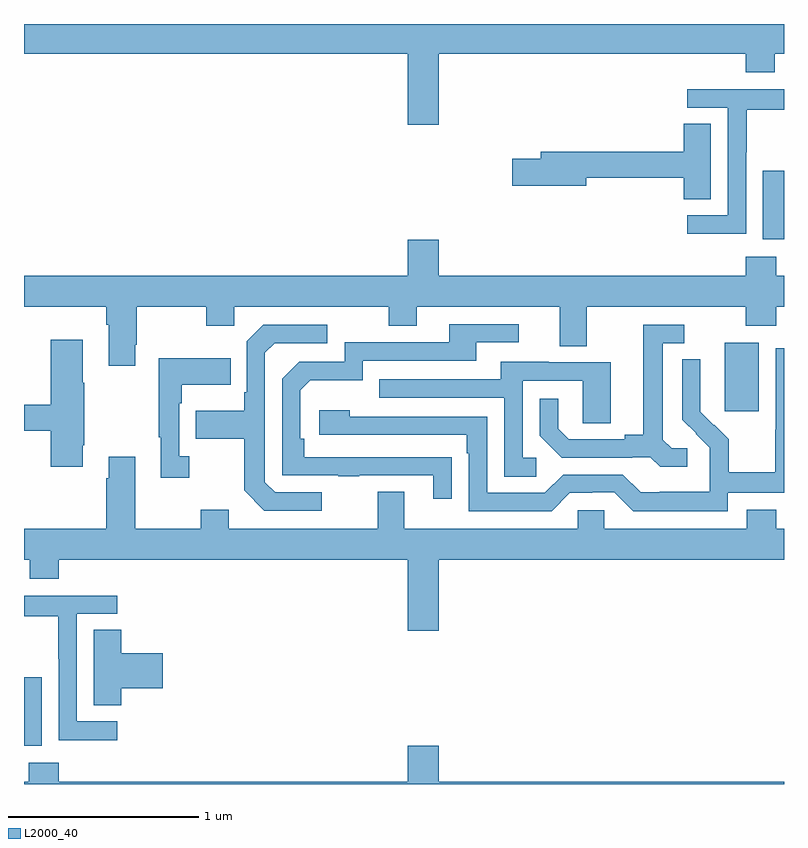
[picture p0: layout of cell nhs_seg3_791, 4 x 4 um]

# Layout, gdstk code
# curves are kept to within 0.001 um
import gdstk
lib = gdstk.Library(unit=1e-6, precision=1e-09)
def R(c, l, rs):  # rectangles x0, y0, x1, y1
    for r in rs: c.add(gdstk.rectangle(r[:2], r[2:], *l))
def P(c, l, *ps):  # polygons
    for p in ps: c.add(gdstk.Polygon(p, *l))
L2000_40 = (2000, 40)

nhs_seg3_791 = lib.new_cell('nhs_seg3_791')
R(nhs_seg3_791, L2000_40, [(151,702.602,151.093,702.963), (154.688,704.361,154.867,704.722), (154.889,705.266,155,705.627)])
P(nhs_seg3_791, L2000_40, [(153.184,706.244),(154.799,706.244),(154.799,706.145),(154.951,706.145),(154.951,706.244),(155,706.244),(155,706.4),(151,706.4),(151,706.244),(153.02,706.244),(153.02,705.87),(153.184,705.87)],
  [(154.8,705.724),(154.803,705.724),(154.803,705.948),(155,705.948),(155,706.056),(154.491,706.056),(154.491,705.96),(154.704,705.96),(154.704,705.393),(154.491,705.393),(154.491,705.295),(154.8,705.295)],
  [(154.615,705.875),(154.472,705.875),(154.472,705.728),(153.719,705.728),(153.719,705.692),(153.57,705.692),(153.57,705.55),(153.958,705.55),(153.958,705.592),(154.472,705.592),(154.472,705.478),(154.615,705.478)],
  [(151.585,704.713),(151.593,704.713),(151.593,704.912),(151.96,704.912),(151.96,704.813),(152.106,704.813),(152.106,704.912),(152.92,704.912),(152.92,704.813),(153.067,704.813),(153.067,704.912),(153.821,704.912),(153.821,704.704),(153.961,704.704),(153.961,704.912),(154.798,704.912),(154.798,704.813),(154.958,704.813),(154.958,704.912),(155,704.912),(155,705.076),(154.959,705.076),(154.959,705.175),(154.799,705.175),(154.799,705.076),(153.184,705.076),(153.184,705.265),(153.02,705.265),(153.02,705.076),(151,705.076),(151,704.912),(151.433,704.912),(151.433,704.816),(151.445,704.816),(151.445,704.601),(151.585,704.601)],
  [(153.251,704.12),(152.474,704.121),(152.474,704.218),(152.454,704.218),(152.454,704.472),(152.507,704.525),(152.784,704.525),(152.784,704.628),(153.379,704.628),(153.379,704.724),(153.604,704.724),(153.604,704.82),(153.239,704.82),(153.239,704.724),(152.688,704.724),(152.688,704.622),(152.448,704.622),(152.358,704.532),(152.358,704.025),(152.653,704.025),(152.653,704.02),(152.765,704.02),(152.765,704.025),(153.155,704.025),(153.155,703.902),(153.251,703.902)],
  [(154.492,704.166),(154.41,704.166),(154.363,704.213),(154.363,704.721),(154.474,704.721),(154.474,704.817),(154.259,704.817),(154.259,704.237),(154.163,704.237),(154.163,704.214),(153.868,704.214),(153.811,704.271),(153.811,704.428),(153.714,704.428),(153.714,704.234),(153.83,704.118),(154.202,704.118),(154.202,704.121),(154.296,704.121),(154.348,704.069),(154.492,704.069)],
  [(152.566,703.935),(152.322,703.935),(152.268,703.989),(152.268,704.67),(152.319,704.721),(152.596,704.721),(152.596,704.817),(152.259,704.817),(152.172,704.73),(152.172,704.461),(152.16,704.461),(152.16,704.365),(151.903,704.365),(151.903,704.218),(152.16,704.218),(152.16,703.945),(152.265,703.839),(152.566,703.839)],
  [(151.309,704.182),(151.317,704.182),(151.317,704.513),(151.309,704.513),(151.309,704.737),(151.142,704.737),(151.142,704.396),(151,704.396),(151,704.26),(151.142,704.26),(151.142,704.07),(151.309,704.07)],
  [(154.704,703.932),(155,703.932),(155,704.694),(154.956,704.694),(154.956,704.264),(154.954,704.264),(154.954,704.041),(154.709,704.041),(154.709,704.215),(154.632,704.292),(154.629,704.289),(154.559,704.36),(154.56,704.636),(154.464,704.636),(154.464,704.318),(154.61,704.17),(154.61,704.073),(154.608,704.073),(154.608,703.939),(154.345,703.939),(154.345,703.935),(154.245,703.935),(154.152,704.028),(153.837,704.028),(153.741,703.932),(153.438,703.932),(153.438,704.334),(152.714,704.334),(152.714,704.368),(152.553,704.368),(152.553,704.238),(153.329,704.238),(153.329,704.141),(153.342,704.141),(153.342,703.836),(153.777,703.836),(153.873,703.932),(153.992,703.932),(153.992,703.935),(154.107,703.935),(154.207,703.835),(154.704,703.835)],
  [(151.87,704.126),(151.818,704.126),(151.818,704.405),(151.831,704.405),(151.831,704.501),(152.087,704.501),(152.087,704.641),(151.71,704.641),(151.71,704.225),(151.721,704.225),(151.721,704.013),(151.87,704.013)],
  [(153.697,704.118),(153.624,704.118),(153.624,704.523),(153.942,704.523),(153.942,704.299),(154.087,704.299),(154.087,704.619),(153.763,704.619),(153.763,704.623),(153.509,704.623),(153.509,704.529),(152.869,704.529),(152.869,704.433),(153.528,704.433),(153.528,704.017),(153.697,704.017)],
  [(153.184,703.58),(155,703.58),(155,703.744),(154.958,703.744),(154.958,703.843),(154.805,703.843),(154.805,703.744),(154.053,703.744),(154.053,703.842),(153.915,703.842),(153.915,703.744),(153.001,703.744),(153.001,703.939),(152.861,703.939),(152.861,703.744),(152.077,703.744),(152.077,703.843),(151.93,703.843),(151.93,703.744),(151.585,703.744),(151.585,704.122),(151.445,704.122),(151.445,704.009),(151.433,704.009),(151.433,703.744),(151,703.744),(151,703.58),(151.031,703.58),(151.031,703.481),(151.184,703.481),(151.184,703.58),(153.02,703.58),(153.02,703.206),(153.184,703.206)],
  [(151.492,702.729),(151.278,702.729),(151.278,703.296),(151.492,703.296),(151.492,703.392),(151,703.392),(151,703.284),(151.18,703.284),(151.18,703.06),(151.182,703.06),(151.182,702.631),(151.492,702.631)],
  [(151.511,702.905),(151.729,702.905),(151.729,703.088),(151.511,703.088),(151.511,703.211),(151.367,703.211),(151.367,702.814),(151.511,702.814)],
  [(155,702.412),(153.184,702.412),(153.184,702.601),(153.02,702.601),(153.02,702.412),(151.184,702.412),(151.184,702.511),(151.024,702.511),(151.024,702.412),(151,702.412),(151,702.4),(155,702.4)])

lib.write_gds('nhs_seg3_791.gds')
